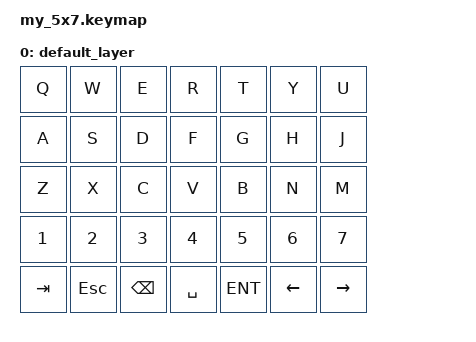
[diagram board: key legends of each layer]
/ {
    compatible = "zmk,shield-keymap";

    keymap {
        compatible = "zmk,keymap";

        default_layer {
            bindings = <
                &kp Q &kp W &kp E &kp R &kp T &kp Y &kp U
                &kp A &kp S &kp D &kp F &kp G &kp H &kp J
                &kp Z &kp X &kp C &kp V &kp B &kp N &kp M
                &kp 1 &kp 2 &kp 3 &kp 4 &kp 5 &kp 6 &kp 7
                &kp TAB &kp ESC &kp BSPC &kp SPC &kp ENT &kp LEFT &kp RIGHT
            >;
        };
    };
};
